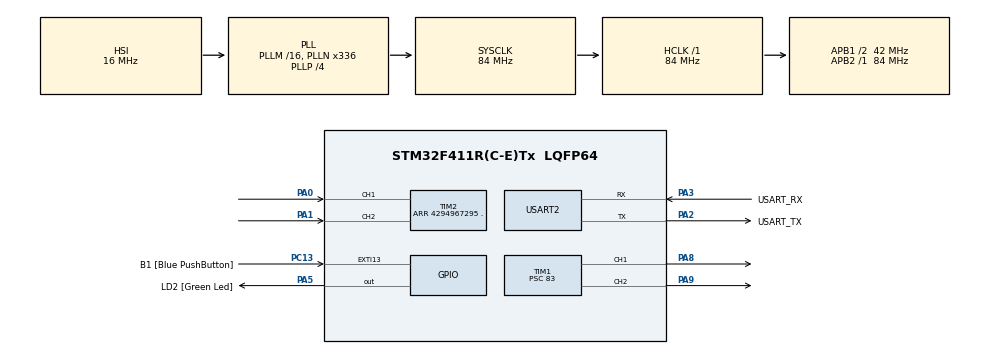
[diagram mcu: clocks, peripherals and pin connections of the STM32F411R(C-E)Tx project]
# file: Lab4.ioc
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Mcu.Family=STM32F4
Mcu.Name=STM32F411R(C-E)Tx
Mcu.Package=LQFP64
NVIC.PriorityGroup=NVIC_PRIORITYGROUP_0
PA0-WKUP.Signal=S_TIM2_CH1_ETR
PA1.Signal=S_TIM2_CH2
PA13.GPIO_Label=TMS
PA13.Mode=Serial_Wire
PA13.Signal=SYS_JTMS-SWDIO
PA14.GPIO_Label=TCK
PA14.Mode=Serial_Wire
PA14.Signal=SYS_JTCK-SWCLK
PA2.GPIO_Label=USART_TX
PA2.Mode=Asynchronous
PA2.Signal=USART2_TX
PA3.GPIO_Label=USART_RX
PA3.Mode=Asynchronous
PA3.Signal=USART2_RX
PA5.GPIO_Label=LD2 [Green Led]
PA5.Signal=GPIO_Output
PA8.Signal=S_TIM1_CH1
PA9.Signal=S_TIM1_CH2
PB3.GPIO_Label=SWO
PB3.Signal=SYS_JTDO-SWO
PC13-ANTI_TAMP.GPIO_Label=B1 [Blue PushButton]
PC13-ANTI_TAMP.GPIO_ModeDefaultEXTI=GPIO_MODE_IT_FALLING
PC13-ANTI_TAMP.Signal=GPXTI13
PC14-OSC32_IN.Mode=LSE-External-Oscillator
PC14-OSC32_IN.Signal=RCC_OSC32_IN
PC15-OSC32_OUT.Mode=LSE-External-Oscillator
PC15-OSC32_OUT.Signal=RCC_OSC32_OUT
PH0\ -\ OSC_IN.Mode=HSE-External-Clock-Source
PH0\ -\ OSC_IN.Signal=RCC_OSC_IN
PH1\ -\ OSC_OUT.Mode=HSE-External-Clock-Source
PH1\ -\ OSC_OUT.Signal=RCC_OSC_OUT
ProjectManager.HeapSize=0x200
ProjectManager.StackSize=0x400
ProjectManager.TargetToolchain=STM32CubeIDE
RCC.48MHZClocksFreq_Value=84000000
RCC.AHBFreq_Value=84000000
RCC.APB1CLKDivider=RCC_HCLK_DIV2
RCC.APB1Freq_Value=42000000
RCC.APB1TimFreq_Value=84000000
RCC.APB2Freq_Value=84000000
RCC.APB2TimFreq_Value=84000000
RCC.CortexFreq_Value=84000000
RCC.FLatency-AdvancedSettings=FLASH_LATENCY_2
RCC.HCLKFreq_Value=84000000
RCC.HSE_VALUE=8000000
RCC.HSI_VALUE=16000000
RCC.PLLN=336
RCC.PLLP=RCC_PLLP_DIV4
RCC.SYSCLKFreq_VALUE=84000000
RCC.SYSCLKSource=RCC_SYSCLKSOURCE_PLLCLK
RCC.VCOOutputFreq_Value=336000000
SH.S_TIM1_CH1.0=TIM1_CH1,PWM Generation1 CH1
SH.S_TIM1_CH2.0=TIM1_CH2,PWM Generation2 CH2
SH.S_TIM2_CH1_ETR.0=TIM2_CH1,Encoder_Interface
SH.S_TIM2_CH2.0=TIM2_CH2,Encoder_Interface
TIM1.Channel-PWM\ Generation1\ CH1=TIM_CHANNEL_1
TIM1.Channel-PWM\ Generation2\ CH2=TIM_CHANNEL_2
TIM1.Period=1000
TIM1.Prescaler=83
TIM1.Pulse-PWM\ Generation1\ CH1=500
TIM2.EncoderMode=TIM_ENCODERMODE_TI12
TIM2.Period=4294967295 .
USART2.VirtualMode=VM_ASYNC
VP_TIM1_VS_ClockSourceINT.Mode=Internal
board=NUCLEO-F411RE

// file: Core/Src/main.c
/* USER CODE BEGIN Header */
/**
  ******************************************************************************
  * @file           : main.c
  * @brief          : Main program body
  ******************************************************************************
  * @attention
  *
  * Copyright (c) 2023 STMicroelectronics.
  * All rights reserved.
  *
  * This software is licensed under terms that can be found in the LICENSE file
  * in the root directory of this software component.
  * If no LICENSE file comes with this software, it is provided AS-IS.
  *
  ******************************************************************************
  */
/* USER CODE END Header */
#include "main.h"

/* USER CODE BEGIN Includes */
#include "arm_math.h"
/* USER CODE END Includes */

TIM_HandleTypeDef htim1;
TIM_HandleTypeDef htim2;

UART_HandleTypeDef huart2;

/* USER CODE BEGIN PV */
uint32_t QEIReadRaw;
arm_pid_instance_f32 PID = {0};
float position =0;
float setposition =0;
float ControlInput =0;
float Duty =100;
int Mode = 0;
int32_t QEIReadRawSign;

/* USER CODE END PV */

void SystemClock_Config(void);
static void MX_GPIO_Init(void);
static void MX_USART2_UART_Init(void);
static void MX_TIM1_Init(void);
static void MX_TIM2_Init(void);

int main(void)
{

  /* MCU Configuration--------------------------------------------------------*/

  /* Reset of all peripherals, Initializes the Flash interface and the Systick. */
  HAL_Init();

  /* Configure the system clock */
  SystemClock_Config();

  /* Initialize all configured peripherals */
  MX_GPIO_Init();
  MX_USART2_UART_Init();
  MX_TIM1_Init();
  MX_TIM2_Init();
  /* USER CODE BEGIN 2 */
  HAL_TIM_Base_Start(&htim1);
  HAL_TIM_PWM_Start(&htim1, TIM_CHANNEL_1);
  HAL_TIM_PWM_Start(&htim1, TIM_CHANNEL_2);

  HAL_TIM_Encoder_Start(&htim2, TIM_CHANNEL_1|TIM_CHANNEL_2);

  PID.Kp =27;
  PID.Ki =0.2;
  PID.Kd = 0;
  arm_pid_init_f32(&PID, 1);
  /* USER CODE END 2 */

  /* Infinite loop */
  while (1)
  {

    /* USER CODE BEGIN 3 */

	  static uint32_t  timestamp = 0;
	  if(timestamp < HAL_GetTick())
	  {
		  timestamp = HAL_GetTick()+10;
		  arm_pid_init_f32(&PID, 1);

		  ControlInput = arm_pid_f32(&PID, setposition-position);
		  QEIReadRaw = __HAL_TIM_GET_COUNTER(&htim2);
		  QEIReadRawSign = (int32_t)QEIReadRaw ;
		  position = ((QEIReadRawSign)/3072.0)*360;
		  voltToPWM();

		  if (Mode == 1)
		  {
			  __HAL_TIM_SET_COMPARE(&htim1,TIM_CHANNEL_1,Duty);
			  __HAL_TIM_SET_COMPARE(&htim1,TIM_CHANNEL_2,0);

		  }
		  else if (Mode == 2)
		  {
			  __HAL_TIM_SET_COMPARE(&htim1,TIM_CHANNEL_1,0);
			  __HAL_TIM_SET_COMPARE(&htim1,TIM_CHANNEL_2,Duty);
		  }

	  }

  }
  /* USER CODE END 3 */
}

void SystemClock_Config(void)
{
  RCC_OscInitTypeDef RCC_OscInitStruct = {0};
  RCC_ClkInitTypeDef RCC_ClkInitStruct = {0};

  /** Configure the main internal regulator output voltage
  */
  __HAL_RCC_PWR_CLK_ENABLE();
  __HAL_PWR_VOLTAGESCALING_CONFIG(PWR_REGULATOR_VOLTAGE_SCALE1);

  /** Initializes the RCC Oscillators according to the specified parameters
  * in the RCC_OscInitTypeDef structure.
  */
  RCC_OscInitStruct.OscillatorType = RCC_OSCILLATORTYPE_HSI;
  RCC_OscInitStruct.HSIState = RCC_HSI_ON;
  RCC_OscInitStruct.HSICalibrationValue = RCC_HSICALIBRATION_DEFAULT;
  RCC_OscInitStruct.PLL.PLLState = RCC_PLL_ON;
  RCC_OscInitStruct.PLL.PLLSource = RCC_PLLSOURCE_HSI;
  RCC_OscInitStruct.PLL.PLLM = 16;
  RCC_OscInitStruct.PLL.PLLN = 336;
  RCC_OscInitStruct.PLL.PLLP = RCC_PLLP_DIV4;
  RCC_OscInitStruct.PLL.PLLQ = 4;
  if (HAL_RCC_OscConfig(&RCC_OscInitStruct) != HAL_OK)
  {
    Error_Handler();
  }

  /** Initializes the CPU, AHB and APB buses clocks
  */
  RCC_ClkInitStruct.ClockType = RCC_CLOCKTYPE_HCLK|RCC_CLOCKTYPE_SYSCLK
                              |RCC_CLOCKTYPE_PCLK1|RCC_CLOCKTYPE_PCLK2;
  RCC_ClkInitStruct.SYSCLKSource = RCC_SYSCLKSOURCE_PLLCLK;
  RCC_ClkInitStruct.AHBCLKDivider = RCC_SYSCLK_DIV1;
  RCC_ClkInitStruct.APB1CLKDivider = RCC_HCLK_DIV2;
  RCC_ClkInitStruct.APB2CLKDivider = RCC_HCLK_DIV1;

  if (HAL_RCC_ClockConfig(&RCC_ClkInitStruct, FLASH_LATENCY_2) != HAL_OK)
  {
    Error_Handler();
  }
}

static void MX_TIM1_Init(void)
{

  TIM_ClockConfigTypeDef sClockSourceConfig = {0};
  TIM_MasterConfigTypeDef sMasterConfig = {0};
  TIM_OC_InitTypeDef sConfigOC = {0};
  TIM_BreakDeadTimeConfigTypeDef sBreakDeadTimeConfig = {0};

  htim1.Instance = TIM1;
  htim1.Init.Prescaler = 83;
  htim1.Init.CounterMode = TIM_COUNTERMODE_UP;
  htim1.Init.Period = 1000;
  htim1.Init.ClockDivision = TIM_CLOCKDIVISION_DIV1;
  htim1.Init.RepetitionCounter = 0;
  htim1.Init.AutoReloadPreload = TIM_AUTORELOAD_PRELOAD_DISABLE;
  if (HAL_TIM_Base_Init(&htim1) != HAL_OK)
  {
    Error_Handler();
  }
  sClockSourceConfig.ClockSource = TIM_CLOCKSOURCE_INTERNAL;
  if (HAL_TIM_ConfigClockSource(&htim1, &sClockSourceConfig) != HAL_OK)
  {
    Error_Handler();
  }
  if (HAL_TIM_PWM_Init(&htim1) != HAL_OK)
  {
    Error_Handler();
  }
  sMasterConfig.MasterOutputTrigger = TIM_TRGO_RESET;
  sMasterConfig.MasterSlaveMode = TIM_MASTERSLAVEMODE_DISABLE;
  if (HAL_TIMEx_MasterConfigSynchronization(&htim1, &sMasterConfig) != HAL_OK)
  {
    Error_Handler();
  }
  sConfigOC.OCMode = TIM_OCMODE_PWM1;
  sConfigOC.Pulse = 500;
  sConfigOC.OCPolarity = TIM_OCPOLARITY_HIGH;
  sConfigOC.OCNPolarity = TIM_OCNPOLARITY_HIGH;
  sConfigOC.OCFastMode = TIM_OCFAST_DISABLE;
  sConfigOC.OCIdleState = TIM_OCIDLESTATE_RESET;
  sConfigOC.OCNIdleState = TIM_OCNIDLESTATE_RESET;
  if (HAL_TIM_PWM_ConfigChannel(&htim1, &sConfigOC, TIM_CHANNEL_1) != HAL_OK)
  {
    Error_Handler();
  }
  sConfigOC.Pulse = 0;
  if (HAL_TIM_PWM_ConfigChannel(&htim1, &sConfigOC, TIM_CHANNEL_2) != HAL_OK)
  {
    Error_Handler();
  }
  sBreakDeadTimeConfig.OffStateRunMode = TIM_OSSR_DISABLE;
  sBreakDeadTimeConfig.OffStateIDLEMode = TIM_OSSI_DISABLE;
  sBreakDeadTimeConfig.LockLevel = TIM_LOCKLEVEL_OFF;
  sBreakDeadTimeConfig.DeadTime = 0;
  sBreakDeadTimeConfig.BreakState = TIM_BREAK_DISABLE;
  sBreakDeadTimeConfig.BreakPolarity = TIM_BREAKPOLARITY_HIGH;
  sBreakDeadTimeConfig.AutomaticOutput = TIM_AUTOMATICOUTPUT_DISABLE;
  if (HAL_TIMEx_ConfigBreakDeadTime(&htim1, &sBreakDeadTimeConfig) != HAL_OK)
  {
    Error_Handler();
  }
  HAL_TIM_MspPostInit(&htim1);

}

static void MX_TIM2_Init(void)
{

  TIM_Encoder_InitTypeDef sConfig = {0};
  TIM_MasterConfigTypeDef sMasterConfig = {0};

  htim2.Instance = TIM2;
  htim2.Init.Prescaler = 0;
  htim2.Init.CounterMode = TIM_COUNTERMODE_UP;
  htim2.Init.Period = 4294967295 .;
  htim2.Init.ClockDivision = TIM_CLOCKDIVISION_DIV1;
  htim2.Init.AutoReloadPreload = TIM_AUTORELOAD_PRELOAD_DISABLE;
  sConfig.EncoderMode = TIM_ENCODERMODE_TI12;
  sConfig.IC1Polarity = TIM_ICPOLARITY_RISING;
  sConfig.IC1Selection = TIM_ICSELECTION_DIRECTTI;
  sConfig.IC1Prescaler = TIM_ICPSC_DIV1;
  sConfig.IC1Filter = 0;
  sConfig.IC2Polarity = TIM_ICPOLARITY_RISING;
  sConfig.IC2Selection = TIM_ICSELECTION_DIRECTTI;
  sConfig.IC2Prescaler = TIM_ICPSC_DIV1;
  sConfig.IC2Filter = 0;
  if (HAL_TIM_Encoder_Init(&htim2, &sConfig) != HAL_OK)
  {
    Error_Handler();
  }
  sMasterConfig.MasterOutputTrigger = TIM_TRGO_RESET;
  sMasterConfig.MasterSlaveMode = TIM_MASTERSLAVEMODE_DISABLE;
  if (HAL_TIMEx_MasterConfigSynchronization(&htim2, &sMasterConfig) != HAL_OK)
  {
    Error_Handler();
  }

}

static void MX_USART2_UART_Init(void)
{

  huart2.Instance = USART2;
  huart2.Init.BaudRate = 115200;
  huart2.Init.WordLength = UART_WORDLENGTH_8B;
  huart2.Init.StopBits = UART_STOPBITS_1;
  huart2.Init.Parity = UART_PARITY_NONE;
  huart2.Init.Mode = UART_MODE_TX_RX;
  huart2.Init.HwFlowCtl = UART_HWCONTROL_NONE;
  huart2.Init.OverSampling = UART_OVERSAMPLING_16;
  if (HAL_UART_Init(&huart2) != HAL_OK)
  {
    Error_Handler();
  }

}

static void MX_GPIO_Init(void)
{
  GPIO_InitTypeDef GPIO_InitStruct = {0};

  /* GPIO Ports Clock Enable */
  __HAL_RCC_GPIOC_CLK_ENABLE();
  __HAL_RCC_GPIOH_CLK_ENABLE();
  __HAL_RCC_GPIOA_CLK_ENABLE();
  __HAL_RCC_GPIOB_CLK_ENABLE();

  /*Configure GPIO pin Output Level */
  HAL_GPIO_WritePin(LD2_GPIO_Port, LD2_Pin, GPIO_PIN_RESET);

  /*Configure GPIO pin : B1_Pin */
  GPIO_InitStruct.Pin = B1_Pin;
  GPIO_InitStruct.Mode = GPIO_MODE_IT_FALLING;
  GPIO_InitStruct.Pull = GPIO_NOPULL;
  HAL_GPIO_Init(B1_GPIO_Port, &GPIO_InitStruct);

  /*Configure GPIO pin : LD2_Pin */
  GPIO_InitStruct.Pin = LD2_Pin;
  GPIO_InitStruct.Mode = GPIO_MODE_OUTPUT_PP;
  GPIO_InitStruct.Pull = GPIO_NOPULL;
  GPIO_InitStruct.Speed = GPIO_SPEED_FREQ_LOW;
  HAL_GPIO_Init(LD2_GPIO_Port, &GPIO_InitStruct);

}

/* USER CODE BEGIN 4 */
void voltToPWM(){
	if (setposition - position >= 0){
		Mode =1;
		if ( ControlInput > 1000){
			Duty = 1000;
		}
		else if ( ControlInput < 0){
			Duty = 0;
		}
		else {
			Duty = ControlInput;
		}
	}
	else if(setposition-position < 0){
		Mode =2;
		ControlInput = -1 * ControlInput;
		if ( ControlInput > 1000){
			Duty = 1000;
		}
		else if ( ControlInput < 0){
			Duty = 0;
		}
		else{
			Duty = ControlInput;
		}
	}

}

/* USER CODE END 4 */

void Error_Handler(void)
{
  __disable_irq();
  while (1)
  {
  }
}
